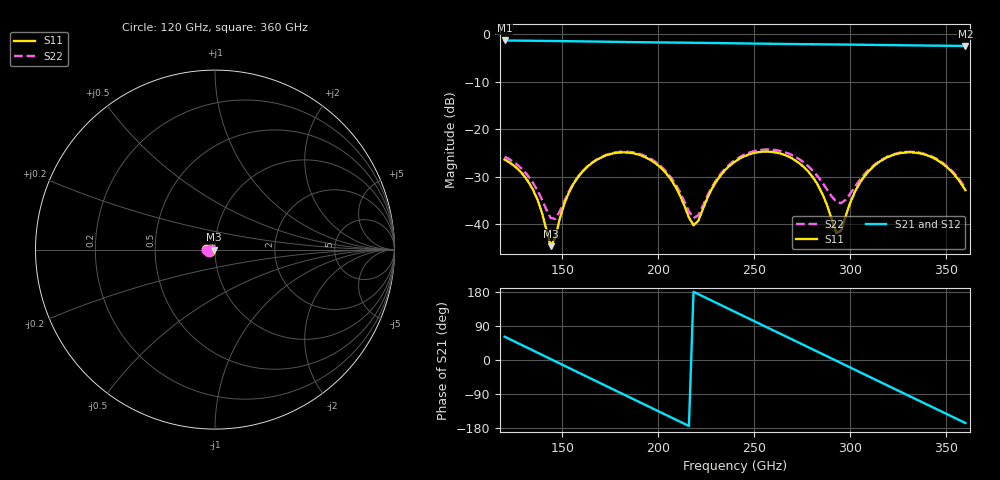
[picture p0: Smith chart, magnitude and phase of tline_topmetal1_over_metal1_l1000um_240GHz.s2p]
#  GHZ S DB R 50
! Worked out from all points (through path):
!   101 points, 120 GHz to 360 GHz, reference 50 ohm
!   highest |S21| = -1.35 dB at 120 GHz (marker M1); lowest = -2.5 dB at 360 GHz (marker M2)
!   group delay of S21, straight-line fit = 6.8 ps
!   lowest |S11| = -44.6 dB at 144 GHz (marker M3), VSWR 1.01, Z = 49.4 - j0.113 ohm
!   |S11| at or under -10 dB: start of sweep to end of sweep
!   |S22| runs from -38.9 to -24.3 dB; largest |S21 - S12| = 9.7e-14
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120  -26.42 179.2  -1.35 61.5  -1.35 61.5  -25.82 -174.7
134.4  -32.47 151.2  -1.42 26.1  -1.42 26.1  -31.07 162.3
144  -44.64 -168.8  -1.47 2.5  -1.47 2.5  -38.70 -171.1
146.4  -42.85 -124.4  -1.48 -3.4  -1.48 -3.4  -38.92 -147.4
153.6  -33.26 -104.5  -1.51 -21.1  -1.51 -21.1  -33.04 -115.9
160.8  -28.84 -115.5  -1.55 -38.9  -1.55 -38.9  -28.80 -120.5
180  -24.92 -156.6  -1.66 -86.0  -1.66 -86.0  -24.78 -156.2
189.6  -25.36 -177.5  -1.71 -109.5  -1.71 -109.5  -25.15 -175.6
201.6  -28.23 159.1  -1.77 -138.9  -1.77 -138.9  -27.89 162.7
208.8  -31.99 150.5  -1.80 -156.5  -1.80 -156.5  -31.46 155.6
218.4  -40.26 -170.1  -1.84 179.9  -1.84 179.9  -38.71 -168.5
230.4  -30.91 -122.1  -1.90 150.5  -1.90 150.5  -30.60 -121.1
240  -26.83 -136.5  -1.95 127.0  -1.95 127.0  -26.53 -133.3
259.2  -24.80 -175.7  -2.05 80.0  -2.05 80.0  -24.33 -169.3
280.8  -30.29 143.3  -2.15 27.2  -2.15 27.2  -28.88 157.3
292.8  -41.88 175.4  -2.20 -2.1  -2.20 -2.1  -35.31 178.6
295.2  -41.41 -149.5  -2.21 -8.0  -2.21 -8.0  -35.60 -166.9
307.2  -30.04 -125.1  -2.26 -37.4  -2.26 -37.4  -29.61 -137.0
321.6  -25.56 -150.8  -2.34 -72.6  -2.34 -72.6  -25.44 -154.8
338.4  -25.31 175.9  -2.42 -113.6  -2.42 -113.6  -25.17 175.5
350.4  -28.01 156.0  -2.47 -142.8  -2.47 -142.8  -27.80 157.2
360  -32.87 152.5  -2.50 -166.3  -2.50 -166.3  -32.46 154.9
